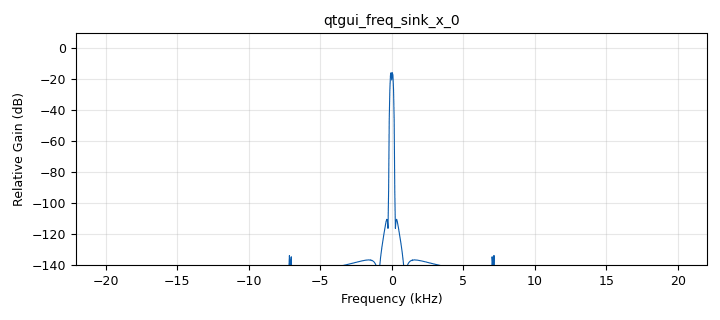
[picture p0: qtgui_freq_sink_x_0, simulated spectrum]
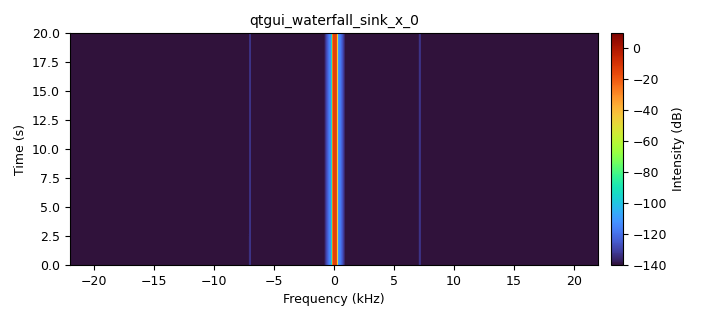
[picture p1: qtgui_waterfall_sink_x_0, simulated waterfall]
options:
  parameters:
    generate_options: qt_gui
    id: audio_source
    output_language: python
    title: Not titled yet
  states: {}

blocks:
- name: amplitude
  id: variable_qtgui_range
  parameters:
    start: '0'
    step: '1'
    stop: '100'
    value: '1'
  states: {}
- name: freq
  id: variable_qtgui_range
  parameters:
    label: frequency
    start: '0'
    step: '1'
    stop: '44000'
    value: '50'
  states: {}
- name: samp_rate
  id: variable
  parameters:
    value: '44100'
  states: {}
- name: analog_sig_source_x_0
  id: analog_sig_source_x
  parameters:
    amp: amplitude
    freq: freq
    offset: '0'
    phase: '0'
    samp_rate: samp_rate
    type: float
    waveform: analog.GR_COS_WAVE
  states: {}
- name: audio_sink_0
  id: audio_sink
  parameters:
    samp_rate: samp_rate
  states: {}
- name: qtgui_freq_sink_x_0
  id: qtgui_freq_sink_x
  parameters:
    bw: samp_rate
    fc: '0'
    fftsize: '1024'
    type: float
  states: {}
- name: qtgui_waterfall_sink_x_0
  id: qtgui_waterfall_sink_x
  parameters:
    bw: samp_rate
    fc: '0'
    fftsize: '1024'
    type: float
  states: {}

connections:
- [analog_sig_source_x_0, '0', audio_sink_0, '0']
- [analog_sig_source_x_0, '0', qtgui_freq_sink_x_0, '0']
- [analog_sig_source_x_0, '0', qtgui_waterfall_sink_x_0, '0']

metadata:
  file_format: 1
  grc_version: 3.10.9.2
